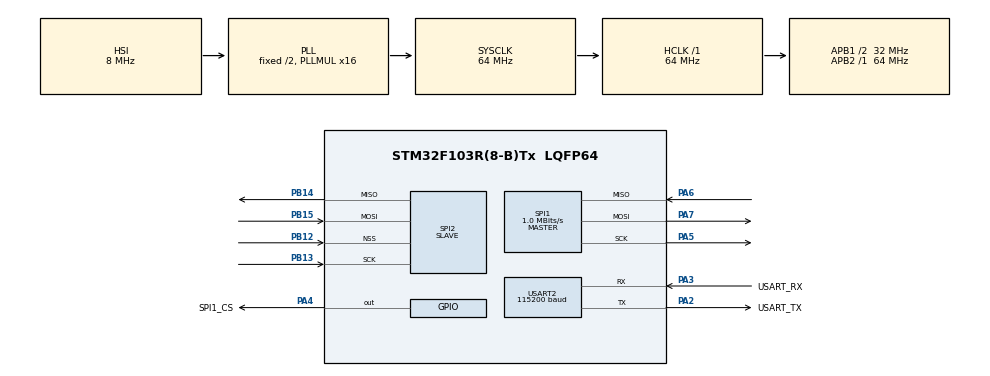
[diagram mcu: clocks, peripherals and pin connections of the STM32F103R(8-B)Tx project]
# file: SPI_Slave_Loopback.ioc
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Mcu.Family=STM32F1
Mcu.Name=STM32F103R(8-B)Tx
Mcu.Package=LQFP64
NVIC.PriorityGroup=NVIC_PRIORITYGROUP_4
NVIC.SPI2_IRQn=true\:1\:0\:false\:false\:true\:true\:true\:true
PA13.GPIO_Label=TMS
PA13.Mode=Serial_Wire
PA13.Signal=SYS_JTMS-SWDIO
PA14.GPIO_Label=TCK
PA14.Mode=Serial_Wire
PA14.Signal=SYS_JTCK-SWCLK
PA2.GPIO_Label=USART_TX
PA2.GPIO_Mode=GPIO_MODE_AF_PP
PA2.GPIO_PuPd=GPIO_NOPULL
PA2.GPIO_Speed=GPIO_SPEED_FREQ_LOW
PA2.Mode=Asynchronous
PA2.Signal=USART2_TX
PA3.GPIO_Label=USART_RX
PA3.GPIO_PuPd=GPIO_NOPULL
PA3.GPIO_Speed=GPIO_SPEED_FREQ_LOW
PA3.Mode=Asynchronous
PA3.Signal=USART2_RX
PA4.GPIO_Label=SPI1_CS
PA4.GPIO_ModeDefaultOutputPP=GPIO_MODE_OUTPUT_PP
PA4.GPIO_PuPd=GPIO_NOPULL
PA4.GPIO_Speed=GPIO_SPEED_FREQ_HIGH
PA4.PinState=GPIO_PIN_SET
PA4.Signal=GPIO_Output
PA5.Mode=Full_Duplex_Master
PA5.Signal=SPI1_SCK
PA6.Mode=Full_Duplex_Master
PA6.Signal=SPI1_MISO
PA7.Mode=Full_Duplex_Master
PA7.Signal=SPI1_MOSI
PB12.Mode=Hardware_NSS_Input_Signal
PB12.Signal=SPI2_NSS
PB13.Mode=Full_Duplex_Slave
PB13.Signal=SPI2_SCK
PB14.Mode=Full_Duplex_Slave
PB14.Signal=SPI2_MISO
PB15.Mode=Full_Duplex_Slave
PB15.Signal=SPI2_MOSI
PB3.GPIO_Label=SWO
PB3.Signal=SYS_JTDO-TRACESWO
PC14-OSC32_IN.Mode=LSE-External-Oscillator
PC14-OSC32_IN.Signal=RCC_OSC32_IN
PC15-OSC32_OUT.Mode=LSE-External-Oscillator
PC15-OSC32_OUT.Signal=RCC_OSC32_OUT
PD0-OSC_IN.Mode=HSE-External-Clock-Source
PD0-OSC_IN.Signal=RCC_OSC_IN
PD1-OSC_OUT.Mode=HSE-External-Clock-Source
PD1-OSC_OUT.Signal=RCC_OSC_OUT
ProjectManager.HeapSize=0x200
ProjectManager.StackSize=0x400
ProjectManager.TargetToolchain=STM32CubeIDE
RCC.AHBFreq_Value=64000000
RCC.APB1CLKDivider=RCC_HCLK_DIV2
RCC.APB1Freq_Value=32000000
RCC.APB1TimFreq_Value=64000000
RCC.APB2Freq_Value=64000000
RCC.APB2TimFreq_Value=64000000
RCC.HCLKFreq_Value=64000000
RCC.PLLMUL=RCC_PLL_MUL16
RCC.RTCClockSelection=RCC_RTCCLKSOURCE_LSE
RCC.SYSCLKFreq_VALUE=64000000
RCC.SYSCLKSource=RCC_SYSCLKSOURCE_PLLCLK
RCC.USBFreq_Value=64000000
SPI1.BaudRatePrescaler=SPI_BAUDRATEPRESCALER_64
SPI1.CalculateBaudRate=1.0 MBits/s
SPI1.Direction=SPI_DIRECTION_2LINES
SPI1.Mode=SPI_MODE_MASTER
SPI1.VirtualType=VM_MASTER
SPI2.Direction=SPI_DIRECTION_2LINES
SPI2.Mode=SPI_MODE_SLAVE
SPI2.NSS=SPI_NSS_HARD_INPUT
SPI2.VirtualType=VM_SLAVE
USART2.BaudRate=115200
USART2.VirtualMode=VM_ASYNC
board=NUCLEO-F103RB

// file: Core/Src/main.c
/* USER CODE BEGIN Header */
/**
 ******************************************************************************
 * @file           : main.c
 * @brief          : Main program body
 ******************************************************************************
 * @attention
 *
 * Copyright (c) 2026 STMicroelectronics.
 * All rights reserved.
 *
 * This software is licensed under terms that can be found in the LICENSE file
 * in the root directory of this software component.
 * If no LICENSE file comes with this software, it is provided AS-IS.
 *
 ******************************************************************************
 */
/**
 * 04_SPI_Slave_Loopback_HAL_c  —  [계층: HAL]  SPI 슬레이브 모드: 보드 한 장 안에서 SPI1(마스터) <-> SPI2(슬레이브) 시험
 *
 * 배선 (점퍼선 4개)
 *   PA5 (SPI1_SCK)  ---- PB13 (SPI2_SCK)
 *   PA7 (SPI1_MOSI) ---- PB15 (SPI2_MOSI)
 *   PB14 (SPI2_MISO) ---- PA6 (SPI1_MISO)
 *   PA4 (마스터가 GPIO 로 제어하는 CS) ---- PB12 (SPI2_NSS, 슬레이브 하드웨어 NSS 입력)
 *   (PA5 는 온보드 LD2 와 같은 핀이라 전송 중 LED 가 흐릿하게 켜진다)
 *
 * SPI 마스터/슬레이브의 차이
 *   마스터가 SCK 를 만들고 NSS(CS)로 슬레이브를 선택한다. 슬레이브는 SCK 를 받아 데이터를 시프트하며, 마스터가 클럭을 주는 순간
 *   슬레이브의 "송신 데이터가 이미 준비되어 있어야" 한다 (전이중이라 수신과 송신이 같은 클럭에 일어남).
 *   -> 슬레이브는 응답을 미리 장전(arm)해 두고, 한 프레임이 끝나면 다음 프레임 응답을 다시 장전한다.
 *   그래서 슬레이브의 응답은 "직전 프레임에 대한 결과"가 되어 한 프레임 늦게 도착한다 (SPI 센서/메모리가 흔히 쓰는 파이프라인 방식).
 *
 * 동작 프로토콜 (8바이트 프레임)
 *   마스터가 [n, n+1, ..., n+7] 을 보내면, 슬레이브는 그것을 받으면서 동시에 "직전 프레임의 각 바이트를 비트 반전한 값"을 돌려준다.
 *   마스터는 받은 값이 (직전에 보낸 값 ^ 0xFF) 인지 검사해 PASS/FAIL 을 UART(115200)로 출력한다.
 *
 * 하드웨어 대응
 *   SPI2->CR1: MSTR=0(슬레이브), SSM=0(하드웨어 NSS), CPOL=0/CPHA=0(마스터와 동일해야 함).  SPI2 는 APB1(32MHz)에 연결.
 *   마스터 SPI1: 64MHz/64 = 1MHz.   슬레이브 SCK 최대는 f_PCLK/... 이내이면 되므로 1MHz 는 충분.
 *
 * ISR vs 콜백
 *   SPI2_IRQHandler (stm32f1xx_it.c, 진짜 ISR) -> HAL_SPI_IRQHandler()
 *     -> HAL_SPI_TxRxCpltCallback() (이 파일) : 슬레이브가 한 프레임을 다 주고받았을 때 (마스터 쪽은 폴링이라 콜백 없음)
 */
/* USER CODE END Header */
#include "main.h"

/* USER CODE BEGIN Includes */
#include <stdio.h>
#include <string.h>
/* USER CODE END Includes */

/* USER CODE BEGIN PD */
#define FRAME 8

/* USER CODE END PD */

SPI_HandleTypeDef hspi1;
SPI_HandleTypeDef hspi2;
UART_HandleTypeDef huart2;

/* USER CODE BEGIN PV */
/* hspi1 = 마스터, hspi2 = 슬레이브 */
static uint8_t s_tx[FRAME];   /* 슬레이브가 다음 프레임에 내보낼 데이터 */
static uint8_t s_rx[FRAME];   /* 슬레이브가 받은 데이터 */
static volatile uint32_t slave_frames;
/* USER CODE END PV */

void SystemClock_Config(void);
static void MX_GPIO_Init(void);
static void MX_SPI1_Init(void);
static void MX_SPI2_Init(void);
static void MX_USART2_UART_Init(void);

int main(void)
{

  /* MCU Configuration--------------------------------------------------------*/

  /* Reset of all peripherals, Initializes the Flash interface and the Systick. */
  HAL_Init();

  /* Configure the system clock */
  SystemClock_Config();

  /* Initialize all configured peripherals */
  MX_GPIO_Init();
  MX_SPI1_Init();
  MX_SPI2_Init();
  MX_USART2_UART_Init();
  /* USER CODE BEGIN 2 */
  memset(s_tx, 0x00, sizeof s_tx);
  if (HAL_SPI_TransmitReceive_IT(&hspi2, s_tx, s_rx, FRAME) != HAL_OK) Error_Handler();   /* 슬레이브: 첫 프레임 장전 */

  char msg[128];
  uint8_t sent[FRAME] = {0}, prev_sent[FRAME] = {0}, got[FRAME];
  uint32_t pass = 0, fail = 0;
  uint32_t n = 0;
  /* USER CODE END 2 */

  /* Infinite loop */
  while (1)
  {

    /* USER CODE BEGIN 3 */
    memcpy(prev_sent, sent, sizeof sent);
    for (int i = 0; i < FRAME; i++) sent[i] = (uint8_t)(n * 8 + i);

    HAL_GPIO_WritePin(SPI1_CS_GPIO_Port, SPI1_CS_Pin, GPIO_PIN_RESET);                 /* CS Low: 슬레이브 선택 */
    HAL_StatusTypeDef st = HAL_SPI_TransmitReceive(&hspi1, sent, got, FRAME, 100);
    HAL_GPIO_WritePin(SPI1_CS_GPIO_Port, SPI1_CS_Pin, GPIO_PIN_SET);                   /* CS High: 프레임 종료 */

    HAL_Delay(20);                                                        /* 슬레이브가 다음 프레임을 장전할 시간 */

    int ok = 1;
    if (n > 0)                                                            /* 첫 프레임의 응답은 초기값이라 검사 제외 */
        for (int i = 0; i < FRAME; i++) if (got[i] != (uint8_t)(prev_sent[i] ^ 0xFF)) ok = 0;
    if (st != HAL_OK) ok = 0;
    if (n > 0) { if (ok) pass++; else fail++; }

    int len = snprintf(msg, sizeof msg, "#%lu  sent %02X..%02X  got %02X %02X %02X %02X ...  slave frames=%lu  %s (pass=%lu fail=%lu)\r\n",
                       (unsigned long)n, sent[0], sent[FRAME - 1], got[0], got[1], got[2], got[3],
                       (unsigned long)slave_frames, n == 0 ? "-" : (ok ? "PASS" : "FAIL"),
                       (unsigned long)pass, (unsigned long)fail);
    HAL_UART_Transmit(&huart2, (uint8_t *)msg, (uint16_t)len, 100);
    HAL_Delay(480);
    n++;
  }
  /* USER CODE END 3 */
}

void SystemClock_Config(void)
{
  RCC_OscInitTypeDef RCC_OscInitStruct = {0};
  RCC_ClkInitTypeDef RCC_ClkInitStruct = {0};

  /** Initializes the RCC Oscillators according to the specified parameters
  * in the RCC_OscInitTypeDef structure.
  */
  RCC_OscInitStruct.OscillatorType = RCC_OSCILLATORTYPE_HSI;
  RCC_OscInitStruct.HSIState = RCC_HSI_ON;
  RCC_OscInitStruct.HSICalibrationValue = RCC_HSICALIBRATION_DEFAULT;
  RCC_OscInitStruct.PLL.PLLState = RCC_PLL_ON;
  RCC_OscInitStruct.PLL.PLLSource = RCC_PLLSOURCE_HSI_DIV2;
  RCC_OscInitStruct.PLL.PLLMUL = RCC_PLL_MUL16;
  if (HAL_RCC_OscConfig(&RCC_OscInitStruct) != HAL_OK)
  {
    Error_Handler();
  }

  /** Initializes the CPU, AHB and APB buses clocks
  */
  RCC_ClkInitStruct.ClockType = RCC_CLOCKTYPE_HCLK|RCC_CLOCKTYPE_SYSCLK
                              |RCC_CLOCKTYPE_PCLK1|RCC_CLOCKTYPE_PCLK2;
  RCC_ClkInitStruct.SYSCLKSource = RCC_SYSCLKSOURCE_PLLCLK;
  RCC_ClkInitStruct.AHBCLKDivider = RCC_SYSCLK_DIV1;
  RCC_ClkInitStruct.APB1CLKDivider = RCC_HCLK_DIV2;
  RCC_ClkInitStruct.APB2CLKDivider = RCC_HCLK_DIV1;

  if (HAL_RCC_ClockConfig(&RCC_ClkInitStruct, FLASH_LATENCY_2) != HAL_OK)
  {
    Error_Handler();
  }
}

static void MX_SPI1_Init(void)
{

  hspi1.Instance = SPI1;
  hspi1.Init.Mode = SPI_MODE_MASTER;
  hspi1.Init.Direction = SPI_DIRECTION_2LINES;
  hspi1.Init.DataSize = SPI_DATASIZE_8BIT;
  hspi1.Init.CLKPolarity = SPI_POLARITY_LOW;
  hspi1.Init.CLKPhase = SPI_PHASE_1EDGE;
  hspi1.Init.NSS = SPI_NSS_SOFT;
  hspi1.Init.BaudRatePrescaler = SPI_BAUDRATEPRESCALER_64;
  hspi1.Init.FirstBit = SPI_FIRSTBIT_MSB;
  hspi1.Init.TIMode = SPI_TIMODE_DISABLE;
  hspi1.Init.CRCCalculation = SPI_CRCCALCULATION_DISABLE;
  hspi1.Init.CRCPolynomial = 10;
  if (HAL_SPI_Init(&hspi1) != HAL_OK)
  {
    Error_Handler();
  }
  /* USER CODE BEGIN SPI1_Init 2 */
  /* SPI1 = 마스터. SPI1->CR1: MSTR=1, SSM=1/SSI=1 (NSS 소프트웨어: CS 는 SPI1_CS(PA4) GPIO 로 직접 제어),
   * BR[2:0]=101 (PCLK2 64MHz / 64 = 1MHz), CPOL=0/CPHA=0 (모드 0), MSB first */
  /* USER CODE END SPI1_Init 2 */

}

static void MX_SPI2_Init(void)
{

  hspi2.Instance = SPI2;
  hspi2.Init.Mode = SPI_MODE_SLAVE;
  hspi2.Init.Direction = SPI_DIRECTION_2LINES;
  hspi2.Init.DataSize = SPI_DATASIZE_8BIT;
  hspi2.Init.CLKPolarity = SPI_POLARITY_LOW;
  hspi2.Init.CLKPhase = SPI_PHASE_1EDGE;
  hspi2.Init.NSS = SPI_NSS_HARD_INPUT;
  hspi2.Init.BaudRatePrescaler = SPI_BAUDRATEPRESCALER_2;
  hspi2.Init.FirstBit = SPI_FIRSTBIT_MSB;
  hspi2.Init.TIMode = SPI_TIMODE_DISABLE;
  hspi2.Init.CRCCalculation = SPI_CRCCALCULATION_DISABLE;
  hspi2.Init.CRCPolynomial = 10;
  if (HAL_SPI_Init(&hspi2) != HAL_OK)
  {
    Error_Handler();
  }
  /* USER CODE BEGIN SPI2_Init 2 */
  /* SPI2 = 슬레이브. SPI2->CR1: MSTR=0, SSM=0 (하드웨어 NSS: PB12 가 Low 일 때만 동작),
   * CPOL=0/CPHA=0 (마스터와 동일한 모드 0). BaudRatePrescaler 는 슬레이브에서 무시된다 (SCK 는 마스터가 만든다).
   * SPI2 는 APB1(32MHz) 에 연결. 수신/송신 인터럽트는 HAL_SPI_MspInit 에서 NVIC(SPI2_IRQn) 에 등록. */
  /* USER CODE END SPI2_Init 2 */

}

static void MX_USART2_UART_Init(void)
{

  huart2.Instance = USART2;
  huart2.Init.BaudRate = 115200;
  huart2.Init.WordLength = UART_WORDLENGTH_8B;
  huart2.Init.StopBits = UART_STOPBITS_1;
  huart2.Init.Parity = UART_PARITY_NONE;
  huart2.Init.Mode = UART_MODE_TX_RX;
  huart2.Init.HwFlowCtl = UART_HWCONTROL_NONE;
  huart2.Init.OverSampling = UART_OVERSAMPLING_16;
  if (HAL_UART_Init(&huart2) != HAL_OK)
  {
    Error_Handler();
  }

}

static void MX_GPIO_Init(void)
{
  GPIO_InitTypeDef GPIO_InitStruct = {0};

  /* GPIO Ports Clock Enable */
  __HAL_RCC_GPIOC_CLK_ENABLE();
  __HAL_RCC_GPIOD_CLK_ENABLE();
  __HAL_RCC_GPIOA_CLK_ENABLE();
  __HAL_RCC_GPIOB_CLK_ENABLE();

  /*Configure GPIO pin Output Level */
  HAL_GPIO_WritePin(SPI1_CS_GPIO_Port, SPI1_CS_Pin, GPIO_PIN_SET);

  /*Configure GPIO pin : SPI1_CS_Pin */
  GPIO_InitStruct.Pin = SPI1_CS_Pin;
  GPIO_InitStruct.Mode = GPIO_MODE_OUTPUT_PP;
  GPIO_InitStruct.Pull = GPIO_NOPULL;
  GPIO_InitStruct.Speed = GPIO_SPEED_FREQ_HIGH;
  HAL_GPIO_Init(SPI1_CS_GPIO_Port, &GPIO_InitStruct);

}

/* USER CODE BEGIN 4 */
/* ------------------------------------------------------------------------- */
/* HAL 콜백 (ISR 문맥): 슬레이브가 한 프레임 송수신 완료 -> 다음 응답을 만들어 다시 장전       */
/* ------------------------------------------------------------------------- */
void HAL_SPI_TxRxCpltCallback(SPI_HandleTypeDef *hspi)
{
    if (hspi->Instance != SPI2) return;
    for (int i = 0; i < FRAME; i++) s_tx[i] = (uint8_t)(s_rx[i] ^ 0xFF);      /* 다음 프레임에서 돌려줄 응답 = 이번에 받은 값의 반전 */
    slave_frames++;
    HAL_SPI_TransmitReceive_IT(hspi, s_tx, s_rx, FRAME);                      /* 다음 프레임 장전 */
}

void HAL_SPI_ErrorCallback(SPI_HandleTypeDef *hspi)                          /* 오버런/모드 오류 시 슬레이브 재장전 */
{
    if (hspi->Instance == SPI2) HAL_SPI_TransmitReceive_IT(hspi, s_tx, s_rx, FRAME);
}
/* USER CODE END 4 */

void Error_Handler(void)
{
  __disable_irq();
  while (1) {
  }
}
#ifdef USE_FULL_ASSERT
/**
  * @brief  Reports the name of the source file and the source line number
  *         where the assert_param error has occurred.
  * @param  file: pointer to the source file name
  * @param  line: assert_param error line source number
  * @retval None
  */
void assert_failed(uint8_t *file, uint32_t line)
{
  /* USER CODE BEGIN 6 */
  /* User can add his own implementation to report the file name and line
     number, ex: printf("Wrong parameters value: file %s on line %d\r\n", file,
     line) */
  /* USER CODE END 6 */
}
#endif /* USE_FULL_ASSERT */
